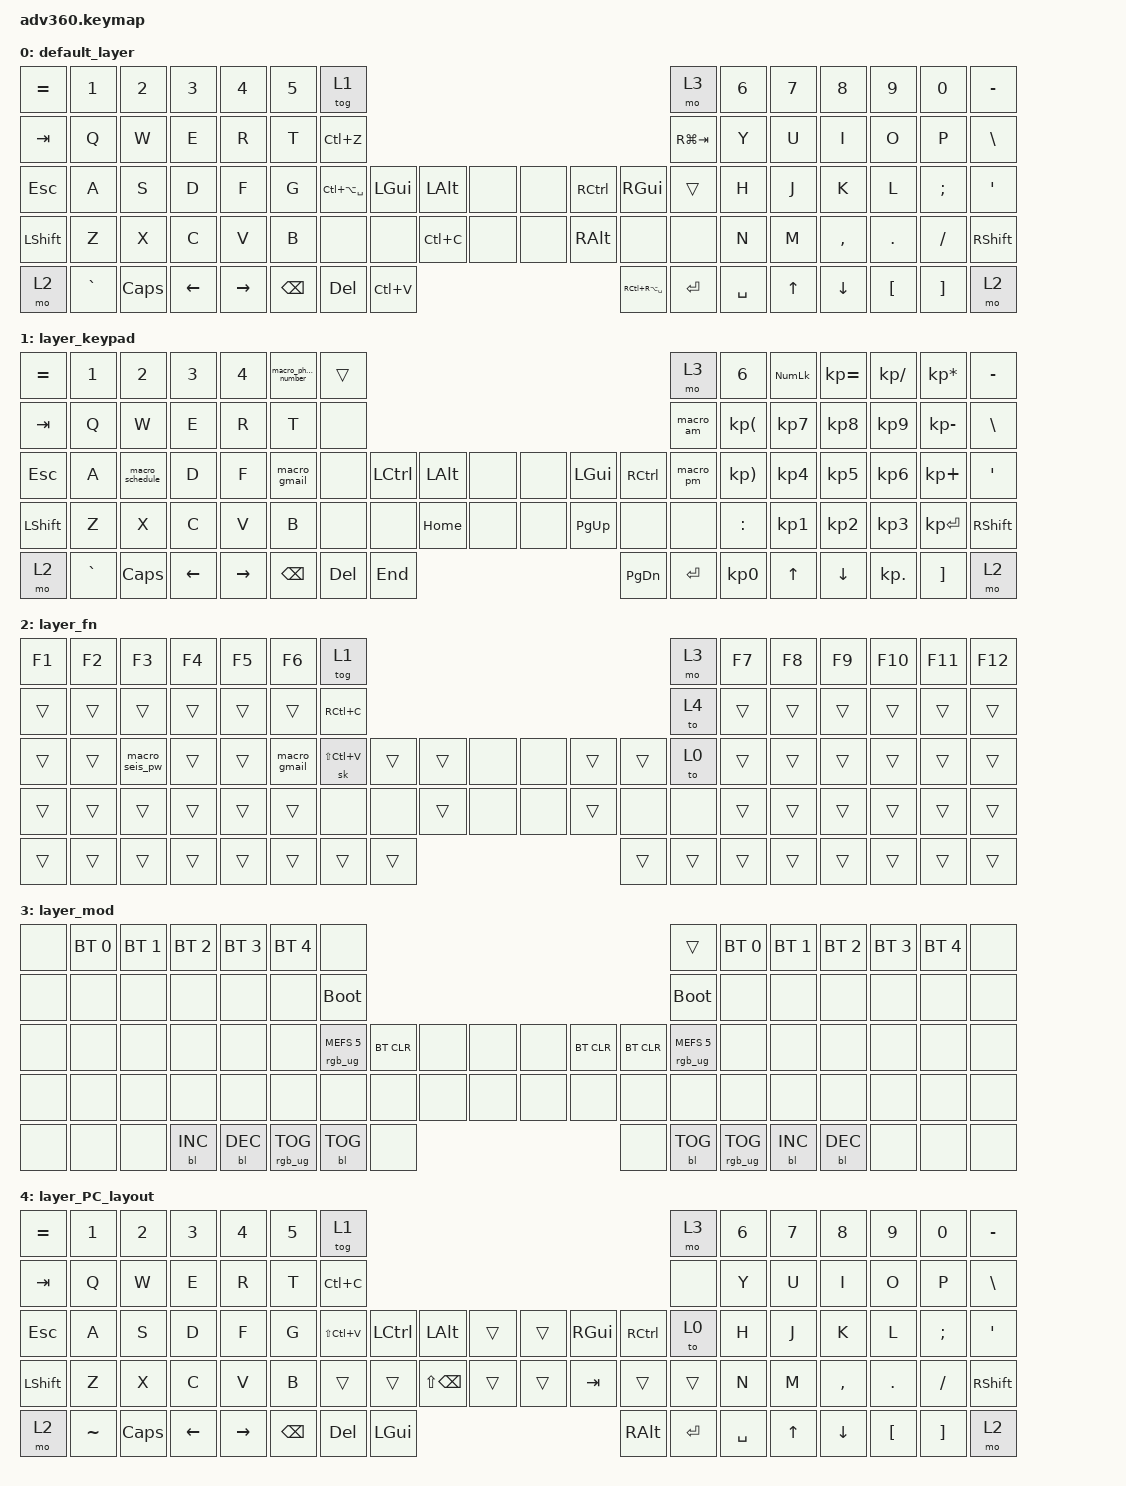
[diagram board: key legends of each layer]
/*
 * Copyright (c) 2020 The ZMK Contributors
 *
 * SPDX-License-Identifier: MIT
 */
/* THIS FILE WAS GENERATED!
 *
 * This file was generated automatically. You may or may not want to
 * edit it directly.
 */

#include <behaviors.dtsi>
#include <dt-bindings/zmk/backlight.h>
#include <dt-bindings/zmk/bt.h>
#include <dt-bindings/zmk/keys.h>
#include <dt-bindings/zmk/rgb.h>

/ {
    behaviors {
        #include "macros.dtsi"

        hm: homerow_mods {
            compatible = "zmk,behavior-hold-tap";
            label = "HOMEROW_MODS";
            #binding-cells = <2>;
            tapping-term-ms = <200>;
            quick_tap_ms = <175>;
            flavor = "tap-preferred";
            bindings =
                <&kp>,
                <&kp>;
        };
    };

    combos {
        compatible = "zmk,combos";

        new_combo {
            bindings = <&macro_yubikey>;
            key-positions = <67 75>;
        };
    };

    macros {
        macro_yubikey: macro_yubikey {
            compatible = "zmk,behavior-macro";
            label = "MACRO_YUBIKEY";
            #binding-cells = <0>;
            bindings = <&none &kp N7 &kp LS(D) &kp LS(G) &kp LS(X) &kp COMMA &kp SEMI &kp N6 &kp LS(Q) &kp DLLR &kp P &kp LS(Q) &kp P &kp LS(D) &kp LS(V) &kp LS(C) &kp N5 &kp LS(M) &kp J &kp Q &kp N9 &kp U &kp RBKT &kp LS(Z) &kp LS(P) &kp M &kp LS(T) &kp F &kp B &kp COMMA &kp LS(L) &kp CARET &kp N2 &kp N5 &kp N9 &kp U &kp LS(J) &kp EQUAL &kp LBRC>;
        };
        macro_gmail: macro_gmail {
            compatible = "zmk,behavior-macro";
            label = "MACRO_GMAIL";
            #binding-cells = <0>;
            bindings = <&none &kp LS(M) &kp M &kp M &kp I &kp C &kp K &kp E &kp Y &kp Y &kp Y &kp AT &kp G &kp M &kp A &kp I &kp L &kp DOT &kp C &kp O &kp M>;
        };
        macro_yahoo: macro_yahoo {
            compatible = "zmk,behavior-macro";
            label = "MACRO_YAHOO";
            #binding-cells = <0>;
            bindings = <&none &kp M &kp M &kp M &kp I &kp C &kp K &kp E &kp Y &kp Y &kp Y &kp AT &kp Y &kp A &kp H &kp O &kp O &kp DOT &kp C &kp O &kp M>;
        };
        macro_seis_pw: macro_seis_pw {
            compatible = "zmk,behavior-macro";
            label = "MACRO_SEIS_PW";
            #binding-cells = <0>;
            bindings = <&none &kp LS(M) &kp A &kp N &kp U &kp E &kp L &kp M &kp I &kp C &kp RETURN>;
        };
    };

    keymap {
        compatible = "zmk,keymap";

        default_layer {
            bindings = <
&kp EQUAL     &kp N1    &kp N2    &kp N3     &kp N4  &kp N5             &tog 1                                                                             &mo 3  &kp N6  &kp N7     &kp N8    &kp N9    &kp N0  &kp MINUS
  &kp TAB      &kp Q     &kp W     &kp E      &kp R   &kp T          &kp LC(Z)                                                                       &kp RG(TAB)   &kp Y   &kp U      &kp I     &kp O     &kp P   &kp BSLH
  &kp ESC      &kp A     &kp S     &kp D      &kp F   &kp G  &kp LC(LA(SPACE))  &kp LEFT_GUI   &kp LALT  &none  &none          &kp RCTRL   &kp RGUI       &trans   &kp H   &kp J      &kp K     &kp L  &kp SEMI    &kp SQT
&kp LSHFT      &kp Z     &kp X     &kp C      &kp V   &kp B              &none         &none  &kp LC(C)  &none  &none      &kp RIGHT_ALT      &none        &none   &kp N   &kp M  &kp COMMA   &kp DOT  &kp FSLH  &kp RSHFT
    &mo 2  &kp GRAVE  &kp CAPS  &kp LEFT  &kp RIGHT                   &kp BSPC       &kp DEL  &kp LC(V)                &kp RC(RA(SPACE))  &kp ENTER    &kp SPACE          &kp UP   &kp DOWN  &kp LBKT  &kp RBKT      &mo 2
            >;
        };

        layer_keypad {
            bindings = <
&kp EQUAL     &kp N1           &kp N2    &kp N3     &kp N4  &macro_phone_number    &trans                                                               &mo 3                    &kp N6  &kp KP_NUM  &kp KP_EQUAL  &kp KP_DIVIDE  &kp KP_MULTIPLY  &kp MINUS
  &kp TAB      &kp Q            &kp W     &kp E      &kp R                &kp T     &none                                                           &macro_am   &kp KP_LEFT_PARENTHESIS   &kp KP_N7     &kp KP_N8      &kp KP_N9     &kp KP_MINUS   &kp BSLH
  &kp ESC      &kp A  &macro_schedule     &kp D      &kp F         &macro_gmail     &none  &kp LCTRL  &kp LALT  &none  &none   &kp LGUI  &kp RCTRL  &macro_pm  &kp KP_RIGHT_PARENTHESIS   &kp KP_N4     &kp KP_N5      &kp KP_N6      &kp KP_PLUS    &kp SQT
&kp LSHFT      &kp Z            &kp X     &kp C      &kp V                &kp B     &none      &none  &kp HOME  &none  &none  &kp PG_UP      &none      &none                 &kp COLON   &kp KP_N1     &kp KP_N2      &kp KP_N3     &kp KP_ENTER  &kp RSHFT
    &mo 2  &kp GRAVE         &kp CAPS  &kp LEFT  &kp RIGHT                       &kp BSPC    &kp DEL   &kp END                &kp PG_DN  &kp ENTER  &kp KP_N0                                &kp UP      &kp DOWN     &kp KP_DOT         &kp RBKT      &mo 2
            >;
        };

        layer_fn {
            bindings = <
&kp F1  &kp F2          &kp F3  &kp F4  &kp F5        &kp F6         &tog 1                                                 &mo 3  &kp F7  &kp F8  &kp F9  &kp F10  &kp F11  &kp F12
&trans  &trans          &trans  &trans  &trans        &trans      &kp RC(C)                                                 &to 4  &trans  &trans  &trans   &trans   &trans   &trans
&trans  &trans  &macro_seis_pw  &trans  &trans  &macro_gmail  &sk LS(LC(V))  &trans  &trans  &none  &none  &trans  &trans   &to 0  &trans  &trans  &trans   &trans   &trans   &trans
&trans  &trans          &trans  &trans  &trans        &trans          &none   &none  &trans  &none  &none  &trans   &none   &none  &trans  &trans  &trans   &trans   &trans   &trans
&trans  &trans          &trans  &trans  &trans                       &trans  &trans  &trans                &trans  &trans  &trans          &trans  &trans   &trans   &trans   &trans
            >;
        };

        layer_mod {
            bindings = <
&none  &bt BT_SEL 0  &bt BT_SEL 1  &bt BT_SEL 2  &bt BT_SEL 3  &bt BT_SEL 4                   &none                                                                           &trans  &bt BT_SEL 0  &bt BT_SEL 1  &bt BT_SEL 2  &bt BT_SEL 3  &bt BT_SEL 4  &none
&none         &none         &none         &none         &none         &none             &bootloader                                                                      &bootloader         &none         &none         &none         &none         &none  &none
&none         &none         &none         &none         &none         &none  &rgb_ug RGB_MEFS_CMD 5  &bt BT_CLR  &none  &none  &none  &bt BT_CLR  &bt BT_CLR  &rgb_ug RGB_MEFS_CMD 5         &none         &none         &none         &none         &none  &none
&none         &none         &none         &none         &none         &none                   &none       &none  &none  &none  &none       &none       &none                   &none         &none         &none         &none         &none         &none  &none
&none         &none         &none    &bl BL_INC    &bl BL_DEC                       &rgb_ug RGB_TOG  &bl BL_TOG  &none                     &none  &bl BL_TOG         &rgb_ug RGB_TOG                  &bl BL_INC    &bl BL_DEC         &none         &none  &none
            >;
        };

        layer_PC_layout {
            bindings = <
     &kp EQUAL     &kp N1  &kp NUMBER_2    &kp NUMBER_3     &kp NUMBER_4  &kp NUMBER_5         &tog 1                                                                                       &mo 3  &kp NUMBER_6  &kp NUMBER_7    &kp NUMBER_8      &kp NUMBER_9       &kp NUMBER_0         &kp MINUS
       &kp TAB      &kp Q         &kp W           &kp E            &kp R         &kp T      &kp LC(C)                                                                                       &none         &kp Y         &kp U           &kp I             &kp O              &kp P     &kp BACKSLASH
    &kp ESCAPE      &kp A         &kp S           &kp D            &kp F         &kp G  &kp LS(LC(V))   &kp LCTRL       &kp LEFT_ALT  &trans  &trans  &kp RIGHT_GUI  &kp RIGHT_CONTROL      &to 0         &kp H         &kp J           &kp K             &kp L      &kp SEMICOLON  &kp SINGLE_QUOTE
&kp LEFT_SHIFT      &kp Z         &kp X           &kp C            &kp V         &kp B         &trans      &trans  &kp LS(BACKSPACE)  &trans  &trans        &kp TAB             &trans     &trans         &kp N         &kp M       &kp COMMA        &kp PERIOD          &kp SLASH   &kp RIGHT_SHIFT
         &mo 2  &kp TILDE  &kp CAPSLOCK  &kp LEFT_ARROW  &kp RIGHT_ARROW                &kp BACKSPACE  &kp DELETE       &kp LEFT_GUI                  &kp RIGHT_ALT          &kp ENTER  &kp SPACE                &kp UP_ARROW  &kp DOWN_ARROW  &kp LEFT_BRACKET  &kp RIGHT_BRACKET             &mo 2
            >;
        };
    };
};
